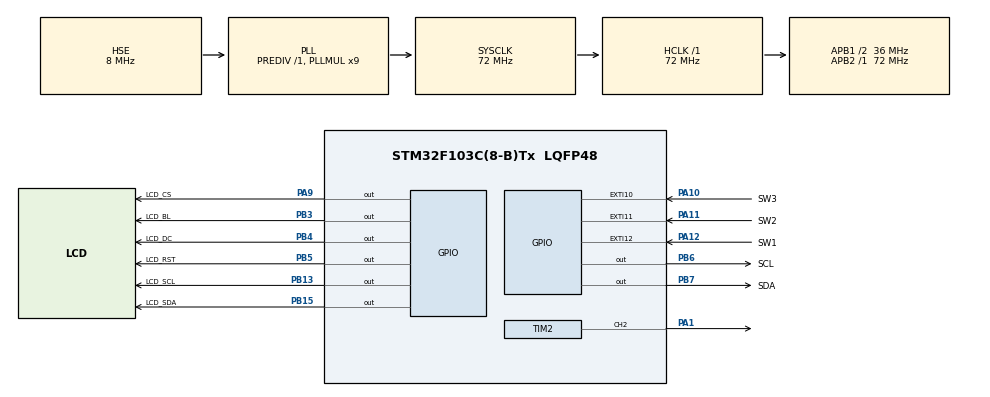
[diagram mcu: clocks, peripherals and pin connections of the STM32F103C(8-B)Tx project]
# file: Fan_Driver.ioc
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Mcu.Family=STM32F1
Mcu.Name=STM32F103C(8-B)Tx
Mcu.Package=LQFP48
NVIC.EXTI15_10_IRQn=true\:15\:0\:true\:false\:true\:true\:true\:true
NVIC.PriorityGroup=NVIC_PRIORITYGROUP_4
PA1.Signal=S_TIM2_CH2
PA10.GPIO_Label=SW3
PA10.GPIO_ModeDefaultEXTI=GPIO_MODE_IT_FALLING
PA10.GPIO_PuPd=GPIO_PULLUP
PA10.Signal=GPXTI10
PA11.GPIO_Label=SW2
PA11.GPIO_ModeDefaultEXTI=GPIO_MODE_IT_FALLING
PA11.GPIO_PuPd=GPIO_PULLUP
PA11.Signal=GPXTI11
PA12.GPIO_Label=SW1
PA12.GPIO_ModeDefaultEXTI=GPIO_MODE_IT_FALLING
PA12.GPIO_PuPd=GPIO_PULLUP
PA12.Signal=GPXTI12
PA13.Mode=Serial_Wire
PA13.Signal=SYS_JTMS-SWDIO
PA14.Mode=Serial_Wire
PA14.Signal=SYS_JTCK-SWCLK
PA9.GPIO_Label=LCD_CS
PA9.GPIO_PuPd=GPIO_PULLDOWN
PA9.GPIO_Speed=GPIO_SPEED_FREQ_HIGH
PA9.PinState=GPIO_PIN_RESET
PA9.Signal=GPIO_Output
PB13.GPIO_Label=LCD_SCL
PB13.GPIO_PuPd=GPIO_PULLDOWN
PB13.GPIO_Speed=GPIO_SPEED_FREQ_HIGH
PB13.PinState=GPIO_PIN_SET
PB13.Signal=GPIO_Output
PB15.GPIO_Label=LCD_SDA
PB15.GPIO_PuPd=GPIO_PULLDOWN
PB15.GPIO_Speed=GPIO_SPEED_FREQ_HIGH
PB15.PinState=GPIO_PIN_SET
PB15.Signal=GPIO_Output
PB3.GPIO_Label=LCD_BL
PB3.GPIO_PuPd=GPIO_PULLDOWN
PB3.GPIO_Speed=GPIO_SPEED_FREQ_HIGH
PB3.PinState=GPIO_PIN_SET
PB3.Signal=GPIO_Output
PB4.GPIO_Label=LCD_DC
PB4.GPIO_PuPd=GPIO_PULLDOWN
PB4.GPIO_Speed=GPIO_SPEED_FREQ_HIGH
PB4.PinState=GPIO_PIN_SET
PB4.Signal=GPIO_Output
PB5.GPIO_Label=LCD_RST
PB5.GPIO_PuPd=GPIO_PULLDOWN
PB5.GPIO_Speed=GPIO_SPEED_FREQ_HIGH
PB5.PinState=GPIO_PIN_SET
PB5.Signal=GPIO_Output
PB6.GPIO_Label=SCL
PB6.GPIO_ModeDefaultOutputPP=GPIO_MODE_OUTPUT_OD
PB6.GPIO_PuPd=GPIO_PULLUP
PB6.GPIO_Speed=GPIO_SPEED_FREQ_HIGH
PB6.Signal=GPIO_Output
PB7.GPIO_Label=SDA
PB7.GPIO_ModeDefaultOutputPP=GPIO_MODE_OUTPUT_OD
PB7.GPIO_PuPd=GPIO_PULLUP
PB7.GPIO_Speed=GPIO_SPEED_FREQ_HIGH
PB7.Signal=GPIO_Output
PD0-OSC_IN.Mode=HSE-External-Oscillator
PD0-OSC_IN.Signal=RCC_OSC_IN
PD1-OSC_OUT.Mode=HSE-External-Oscillator
PD1-OSC_OUT.Signal=RCC_OSC_OUT
ProjectManager.HeapSize=0x200
ProjectManager.StackSize=0x400
ProjectManager.TargetToolchain=STM32CubeIDE
RCC.AHBFreq_Value=72000000
RCC.APB1CLKDivider=RCC_HCLK_DIV2
RCC.APB1Freq_Value=36000000
RCC.APB1TimFreq_Value=72000000
RCC.APB2Freq_Value=72000000
RCC.APB2TimFreq_Value=72000000
RCC.HCLKFreq_Value=72000000
RCC.PLLMUL=RCC_PLL_MUL9
RCC.PLLSourceVirtual=RCC_PLLSOURCE_HSE
RCC.SYSCLKFreq_VALUE=72000000
RCC.SYSCLKSource=RCC_SYSCLKSOURCE_PLLCLK
RCC.USBFreq_Value=72000000
SH.S_TIM2_CH2.0=TIM2_CH2,PWM Generation2 CH2
TIM2.AutoReloadPreload=TIM_AUTORELOAD_PRELOAD_ENABLE
TIM2.Channel-PWM\ Generation2\ CH2=TIM_CHANNEL_2
TIM2.OC2Preload_PWM=ENABLE
TIM2.OCMode_PWM-PWM\ Generation2\ CH2=TIM_OCMODE_PWM1
TIM2.OCPolarity_2=TIM_OCPOLARITY_HIGH
TIM2.Period=499
TIM2.Prescaler=71
TIM2.Pulse-PWM\ Generation2\ CH2=0
TIM2.TIM_MasterOutputTrigger=TIM_TRGO_RESET
VP_TIM2_VS_ClockSourceINT.Mode=Internal
board=custom

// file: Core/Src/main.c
/* USER CODE BEGIN Header */
/**
  ******************************************************************************
  * @file           : main.c
  * @brief          : Main program body
  ******************************************************************************
  * @attention
  *
  * Copyright (c) 2024 STMicroelectronics.
  * All rights reserved.
  *
  * This software is licensed under terms that can be found in the LICENSE file
  * in the root directory of this software component.
  * If no LICENSE file comes with this software, it is provided AS-IS.
  *
  ******************************************************************************
  */
/* USER CODE END Header */
#include "main.h"
#include "tim.h"
#include "gpio.h"

/* USER CODE BEGIN Includes */
#include "Switch.h"
#include "SPI/lcd.h"
#include "SPI/image.h"
#include "I2C/I2C_Init.h"
//#include "lcdfont.h"
/* USER CODE END Includes */

void SystemClock_Config(void);

/* USER CODE BEGIN 0 */
void HAL_GPIO_EXTI_Callback(uint16_t GPIO_Pin)
{
	if (SW1_Pin == GPIO_Pin)
	{
		Fan_Fast(&htim2, SW1_Pin);
	}
	else if (SW2_Pin == GPIO_Pin)
	{
		Fan_Slow(&htim2, SW2_Pin);
	}
}

/* USER CODE END 0 */

int main(void)
{

  /* MCU Configuration--------------------------------------------------------*/

  /* Reset of all peripherals, Initializes the Flash interface and the Systick. */
  HAL_Init();

  /* Configure the system clock */
  SystemClock_Config();

  /* Initialize all configured peripherals */
  MX_GPIO_Init();
  MX_TIM2_Init();
  /* USER CODE BEGIN 2 */
  Fan_Init(&htim2);
  LCD_BLK_Set();
  LCD_SCLK_Set();
  LCD_DC_Set();
  LCD_Init();
  LCD_clear();
  HAL_Delay(50);
  /* USER CODE END 2 */

  /* Infinite loop */
  /* USER CODE BEGIN WHILE */
  while (1)
  {
	  LCD_ShowPicture(gImage_Fan1, 25, 2);
	  HAL_Delay(1);
	  LCD_ShowPicture(gImage_Fan2, 25, 2);
	  HAL_Delay(1);
	  LCD_ShowPicture(gImage_Fan3, 25, 2);
	  HAL_Delay(1);

	  uint8_t *s = "Test";
	  LCD_ShowString(2, 90, s, WHITE, BLACK, 24, 0);
    /* USER CODE END WHILE */

  }
}

void SystemClock_Config(void)
{
  RCC_OscInitTypeDef RCC_OscInitStruct = {0};
  RCC_ClkInitTypeDef RCC_ClkInitStruct = {0};

  /** Initializes the RCC Oscillators according to the specified parameters
  * in the RCC_OscInitTypeDef structure.
  */
  RCC_OscInitStruct.OscillatorType = RCC_OSCILLATORTYPE_HSE;
  RCC_OscInitStruct.HSEState = RCC_HSE_ON;
  RCC_OscInitStruct.HSEPredivValue = RCC_HSE_PREDIV_DIV1;
  RCC_OscInitStruct.HSIState = RCC_HSI_ON;
  RCC_OscInitStruct.PLL.PLLState = RCC_PLL_ON;
  RCC_OscInitStruct.PLL.PLLSource = RCC_PLLSOURCE_HSE;
  RCC_OscInitStruct.PLL.PLLMUL = RCC_PLL_MUL9;
  if (HAL_RCC_OscConfig(&RCC_OscInitStruct) != HAL_OK)
  {
    Error_Handler();
  }

  /** Initializes the CPU, AHB and APB buses clocks
  */
  RCC_ClkInitStruct.ClockType = RCC_CLOCKTYPE_HCLK|RCC_CLOCKTYPE_SYSCLK
                              |RCC_CLOCKTYPE_PCLK1|RCC_CLOCKTYPE_PCLK2;
  RCC_ClkInitStruct.SYSCLKSource = RCC_SYSCLKSOURCE_PLLCLK;
  RCC_ClkInitStruct.AHBCLKDivider = RCC_SYSCLK_DIV1;
  RCC_ClkInitStruct.APB1CLKDivider = RCC_HCLK_DIV2;
  RCC_ClkInitStruct.APB2CLKDivider = RCC_HCLK_DIV1;

  if (HAL_RCC_ClockConfig(&RCC_ClkInitStruct, FLASH_LATENCY_2) != HAL_OK)
  {
    Error_Handler();
  }
}

void Error_Handler(void)
{
  __disable_irq();
  while (1)
  {
  }
}
